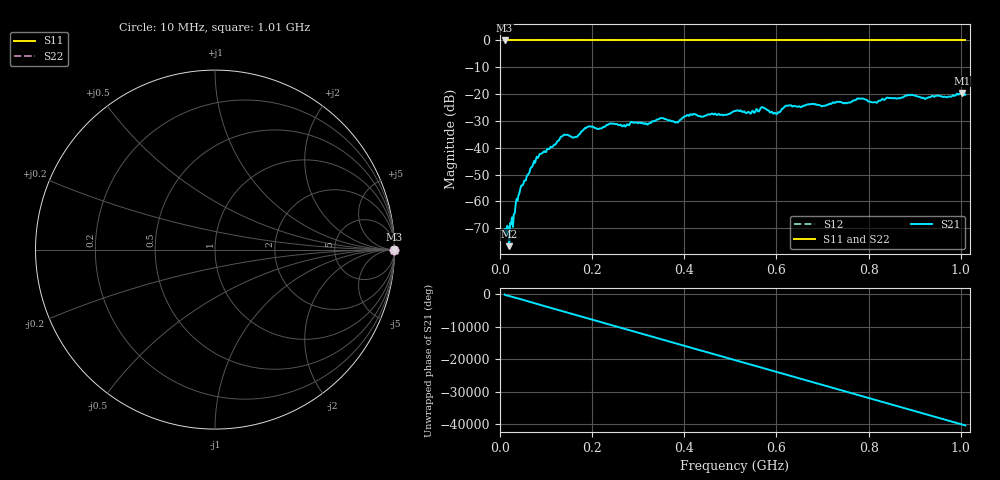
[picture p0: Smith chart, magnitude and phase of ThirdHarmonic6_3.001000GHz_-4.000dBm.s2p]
! 8/17/2025 8:34:47 AM
! C:\ANRITSUVNA\TEMP\TEMP.S2P
! CHANNEL.1
! TR.MEASUREMENT
! RAW.DATA
! RF.CORRECTION.OFF
! AVERAGING.OFF
! IF.BANDWIDTH: 5KHZ
! SWEEPTYPE:  FREQ.SWEEP(Linear)
! Reference Plane Port Info
! PORT:  PORT1  PORT2
! DISTANCE:  0  m  0  m
! TIME:  0  s  0  s
! PHASE.OFFSET:  0  deg.  0  deg.
! LOSS:  0  dB  0  dB
! REF.LOSS:  0  dB  0  dB
! REF.FREQ:  0  Hz  0  Hz
! Power Info
! POWER:  -20  dBm  -20  dBm
! EFF.POWER:  -20  dBm  -20  dBm
! SOURCE.ATTEN:  0  dB  0  dB
! TEST.ATTEN:  0  dB  0  dB
# GHZ S RI R 50.0
! FREQ.GHZ  S11RE  S11IM  S21RE  S21IM  S12RE  S12IM  S22RE  S22IM
!; PortSelection: Port_12
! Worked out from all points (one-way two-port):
!   501 points, 10 MHz to 1.01 GHz, reference 50 ohm
!   highest |S21| = -19.59 dB at 1.002 GHz (marker M1); lowest = -76.7 dB at 20 MHz (marker M2)
!   lowest |S11| = 0.0 dB at 10 MHz (marker M3)
!   |S11| at or under -10 dB: nowhere
!   |S22| runs from 0.0 to 0.0 dB; largest |S21 - S12| = 1.1
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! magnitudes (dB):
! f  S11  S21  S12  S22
! 10 MHz  0.0  -70.5  0.0  0.0
! 20 MHz  0.0  -76.7  0.0  0.0
! 24 MHz  0.0  -68.4  0.0  0.0
! 44 MHz  0.0  -55.4  0.0  0.0
! 82 MHz  0.0  -43.8  0.0  0.0
! 136 MHz  0.0  -35.6  0.0  0.0
! 164 MHz  0.0  -36.0  0.0  0.0
! 178 MHz  0.0  -33.9  0.0  0.0
! 192 MHz  0.0  -32.1  0.0  0.0
! 322 MHz  0.0  -31.1  0.0  0.0
! 344 MHz  0.0  -29.4  0.0  0.0
! 384 MHz  0.0  -30.5  0.0  0.0
! 410 MHz  0.0  -28.1  0.0  0.0
! 510 MHz  0.0  -26.3  0.0  0.0
! 570 MHz  0.0  -24.9  0.0  0.0
! 598 MHz  0.0  -27.1  0.0  0.0
! 624 MHz  0.0  -24.4  0.0  0.0
! 678 MHz  0.0  -23.7  0.0  0.0
! 814 MHz  0.0  -23.0  0.0  0.0
! 844 MHz  0.0  -21.5  0.0  0.0
! 1.002 GHz  0.0  -19.6  0.0  0.0
! 1.01 GHz  0.0  -20.1  0.0  0.0
